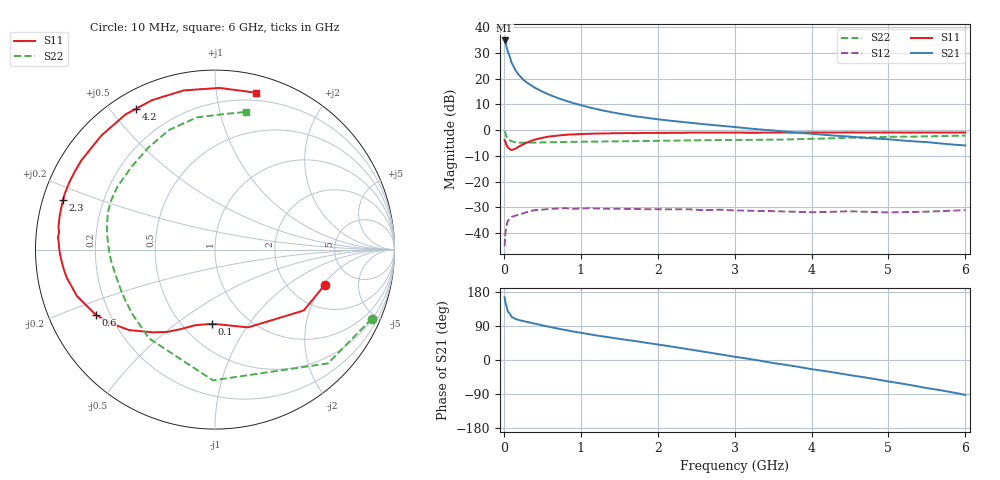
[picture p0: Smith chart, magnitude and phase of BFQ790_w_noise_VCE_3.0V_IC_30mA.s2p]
! Infineon Technologies  Discrete & RF Semiconductors
! BFQ790
! VCE =  3.0 V,  IC =  30 mA
! Common Emitter S-Parameters:  May 2015
# GHz  S  MA  R  50
!  f  S11  S21  S12  S22
! GHz  MAG  ANG  MAG  ANG  MAG  ANG  MAG  ANG
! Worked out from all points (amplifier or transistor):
!   77 points, 10 MHz to 6 GHz, reference 50 ohm
!   highest |S21| = 34.8 dB at 10 MHz (marker M1)
!   |S21| within 3 dB of that: start of sweep to 39.64 MHz
!   unconditionally stable (mu >= 1): 1.682 GHz to 1.761 GHz; 1.832 GHz to end of sweep
!   at 130 MHz: K = 0.67, MSG = 29.0 dB, |S12| = -33.4 dB
!   at 2.2 GHz: K = 1.08, MAG = 15.5 dB, |S12| = -30.7 dB
!   at 6 GHz: K = 2.03, MAG = 6.8 dB, |S12| = -31.1 dB
!   lowest NFmin = 2.11 dB at 900 MHz
!   S11 on the Smith chart (normalised r, x): 10 MHz: 3.08, -2.08; 100 MHz: 0.69, -0.69; 600 MHz: 0.15, -0.25; 2.3 GHz: 0.06, +0.16; 4.2 GHz: 0.07, +0.58; 6 GHz: 0.13, +1.28
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0.01  0.642 -18.0  55.05 165.3  0.0056 71.5  0.9545 -23.8
0.02  0.5994 -34.5  50.4 152.1  0.0102 63.0  0.8935 -45.2
0.05  0.471 -66.9  34.23 128.3  0.0173 38.8  0.7286 -90.9
0.1  0.4134 -92.2  20.41 113.8  0.0207 24.0  0.6163 -126.5
0.15  0.436 -104.8  14.59 108.5  0.0219 21.8  0.584 -142.4
0.2  0.4836 -113.5  11.55 105.2  0.0232 18.7  0.5733 -151.3
0.25  0.5314 -120.3  9.66 102.9  0.0242 16.0  0.5705 -157.0
0.3  0.5743 -126.6  8.342 100.5  0.0256 14.4  0.5693 -161.2
0.4  0.6552 -136.8  6.692 95.9  0.028 11.1  0.5729 -166.9
0.5  0.7112 -144.6  5.589 91.4  0.0286 7.6  0.5771 -170.8
0.6  0.7567 -151.3  4.813 87.2  0.0296 4.1  0.582 -173.9
0.7  0.7836 -156.9  4.199 83.0  0.0301 2.7  0.5855 -176.4
0.8  0.8118 -161.4  3.747 79.1  0.0306 -1.9  0.5889 -178.4
1.1  0.85 -172.7  2.794 68.4  0.0305 -7.4  0.5977 176.6
1.5  0.8715 177.4  2.093 55.9  0.0298 -14.4  0.6058 171.7
2.1  0.8865 166.0  1.564 38.0  0.0291 -23.0  0.6234 164.1
2.3  0.8903 161.9  1.452 31.7  0.0291 -26.2  0.6298 161.0
3.1  0.8928 143.9  1.111 5.6  0.0275 -37.7  0.6463 144.5
4.1  0.9008 121.4  0.827 -27.0  0.0257 -46.4  0.6835 120.5
4.2  0.8996 119.2  0.804 -30.0  0.0259 -47.2  0.6893 118.0
5.1  0.8998 98.6  0.645 -59.8  0.0255 -55.6  0.7439 95.4
6  0.9035 75.4  0.505 -92.0  0.028 -65.7  0.7858 77.4
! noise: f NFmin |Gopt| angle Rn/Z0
0.45  2.49  0.31  99  0.34
0.9  2.11  0.46  151  0.14
1.5  2.31  0.64  179  0.07
1.8  2.6  0.67  -174  0.07
2.6  3.46  0.74  -156  0.2
3.5  4.21  0.87  -138  0.62
